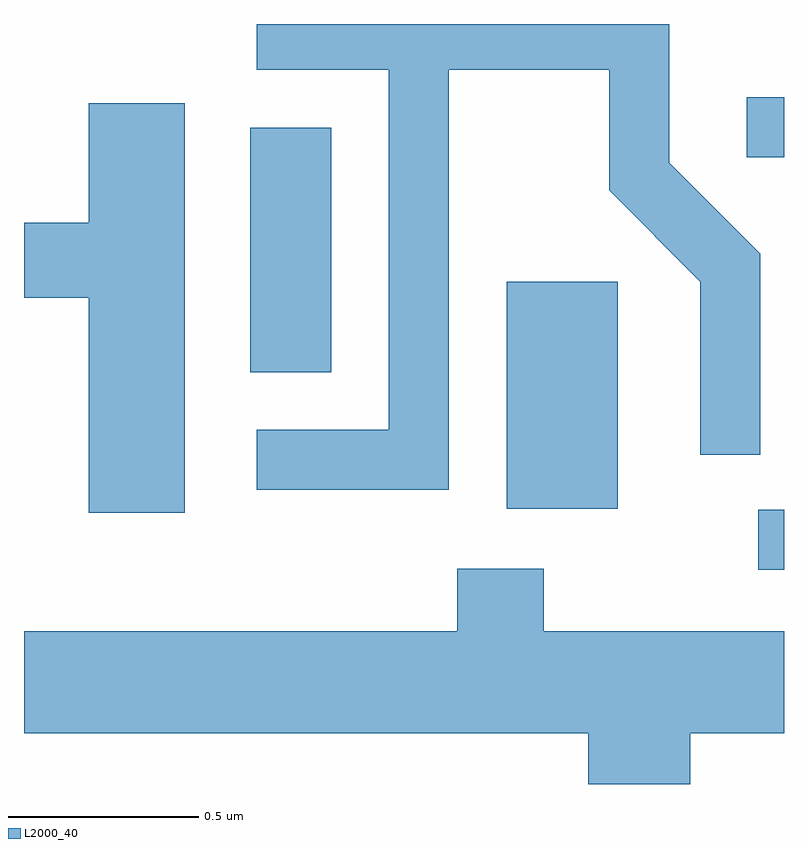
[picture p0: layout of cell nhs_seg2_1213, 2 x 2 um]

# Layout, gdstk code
import gdstk
lib = gdstk.Library(unit=1e-6, precision=1e-09)
def R(c, l, rs):  # rectangles x0, y0, x1, y1
    for r in rs: c.add(gdstk.rectangle(r[:2], r[2:], *l))
def P(c, l, *ps):  # polygons
    for p in ps: c.add(gdstk.Polygon(p, *l))
L2000_40 = (2000, 40)

nhs_seg2_1213 = lib.new_cell('nhs_seg2_1213')
R(nhs_seg2_1213, L2000_40, [(195.543,1095.366,195.611,1095.524), (194.881,1095.526,195.174,1096.124), (194.206,1095.886,194.419,1096.529), (195.513,1096.451,195.611,1096.609)])
P(nhs_seg2_1213, L2000_40, [(194.729,1096.681),(195.151,1096.681),(195.151,1096.364),(195.391,1096.124),(195.391,1095.668),(195.549,1095.668),(195.549,1096.197),(195.309,1096.437),(195.309,1096.802),(194.223,1096.802),(194.223,1096.681),(194.571,1096.681),(194.571,1095.734),(194.223,1095.734),(194.223,1095.576),(194.729,1095.576)],
  [(194.034,1096.594),(193.781,1096.594),(193.781,1096.279),(193.611,1096.279),(193.611,1096.081),(193.781,1096.081),(193.781,1095.516),(194.034,1095.516)],
  [(195.364,1094.936),(195.611,1094.936),(195.611,1095.204),(194.979,1095.204),(194.979,1095.369),(194.751,1095.369),(194.751,1095.204),(193.611,1095.204),(193.611,1094.936),(195.096,1094.936),(195.096,1094.802),(195.364,1094.802)])

lib.write_gds('nhs_seg2_1213.gds')
